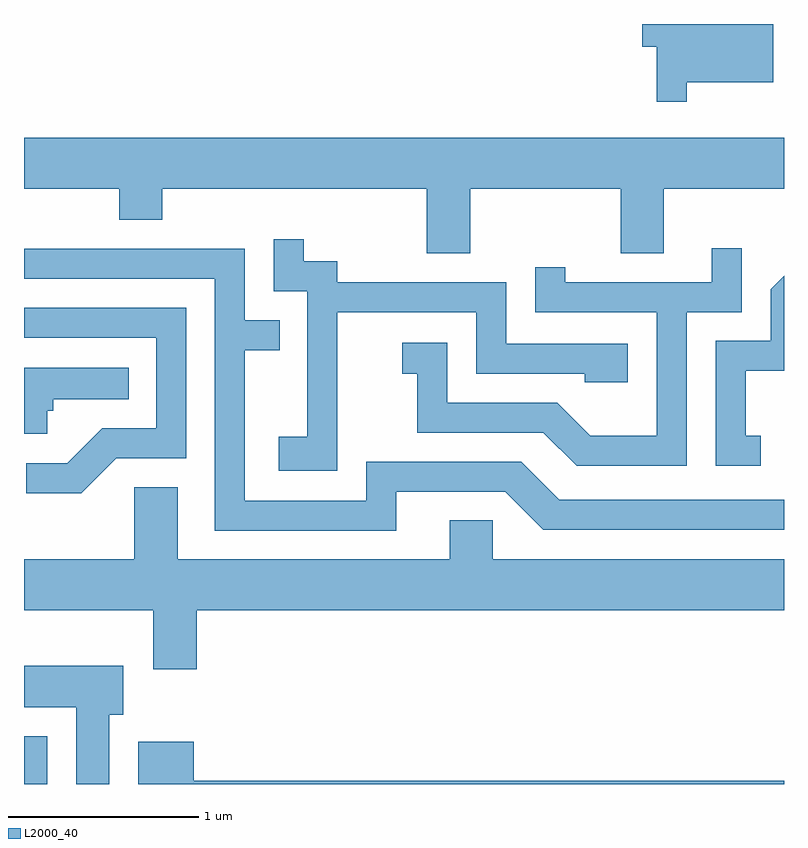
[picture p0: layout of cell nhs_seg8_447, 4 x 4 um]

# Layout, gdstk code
import gdstk
lib = gdstk.Library(unit=1e-6, precision=1e-09)
def R(c, l, rs):  # rectangles x0, y0, x1, y1
    for r in rs: c.add(gdstk.rectangle(r[:2], r[2:], *l))
def P(c, l, *ps):  # polygons
    for p in ps: c.add(gdstk.Polygon(p, *l))
L2000_40 = (2000, 40)

nhs_seg8_447 = lib.new_cell('nhs_seg8_447')
R(nhs_seg8_447, L2000_40, [(197.611,1884.342,197.734,1884.594)])
P(nhs_seg8_447, L2000_40, [(201.099,1888.036),(201.554,1888.036),(201.554,1888.342),(200.866,1888.342),(200.866,1888.221),(200.941,1888.221),(200.941,1887.933),(201.099,1887.933)],
  [(199.959,1887.476),(200.751,1887.476),(200.751,1887.136),(200.979,1887.136),(200.979,1887.476),(201.611,1887.476),(201.611,1887.744),(197.611,1887.744),(197.611,1887.476),(198.111,1887.476),(198.111,1887.311),(198.339,1887.311),(198.339,1887.476),(199.731,1887.476),(199.731,1887.136),(199.959,1887.136)],
  [(199.259,1886.826),(199.991,1886.826),(199.991,1886.501),(200.561,1886.501),(200.561,1886.456),(200.789,1886.456),(200.789,1886.659),(200.149,1886.659),(200.149,1886.984),(199.259,1886.984),(199.259,1887.094),(199.084,1887.094),(199.084,1887.208),(198.926,1887.208),(198.926,1886.936),(199.101,1886.936),(199.101,1886.169),(198.951,1886.169),(198.951,1885.991),(199.259,1885.991)],
  [(201.099,1886.826),(201.389,1886.826),(201.389,1887.163),(201.231,1887.163),(201.231,1886.984),(200.459,1886.984),(200.459,1887.063),(200.301,1887.063),(200.301,1886.826),(200.941,1886.826),(200.941,1886.174),(200.592,1886.174),(200.417,1886.349),(199.839,1886.349),(199.839,1886.664),(199.603,1886.664),(199.603,1886.501),(199.681,1886.501),(199.681,1886.191),(200.344,1886.191),(200.519,1886.016),(201.099,1886.016)],
  [(199.569,1885.881),(200.144,1885.881),(200.344,1885.681),(201.611,1885.681),(201.611,1885.839),(200.427,1885.839),(200.227,1886.039),(199.411,1886.039),(199.411,1885.834),(198.774,1885.834),(198.774,1886.626),(198.958,1886.626),(198.958,1886.784),(198.774,1886.784),(198.774,1887.159),(197.611,1887.159),(197.611,1887.001),(198.616,1887.001),(198.616,1885.676),(199.569,1885.676)],
  [(201.488,1886.174),(201.409,1886.174),(201.409,1886.516),(201.611,1886.516),(201.611,1887.017),(201.541,1886.947),(201.541,1886.674),(201.251,1886.674),(201.251,1886.016),(201.488,1886.016)],
  [(198.097,1886.056),(198.464,1886.056),(198.464,1886.849),(197.611,1886.849),(197.611,1886.691),(198.306,1886.691),(198.306,1886.214),(198.024,1886.214),(197.839,1886.029),(197.623,1886.029),(197.623,1885.871),(197.912,1885.871)],
  [(197.734,1886.306),(197.764,1886.306),(197.764,1886.366),(198.163,1886.366),(198.163,1886.534),(197.611,1886.534),(197.611,1886.186),(197.734,1886.186)],
  [(198.519,1885.256),(201.611,1885.256),(201.611,1885.524),(200.079,1885.524),(200.079,1885.729),(199.851,1885.729),(199.851,1885.524),(198.419,1885.524),(198.419,1885.904),(198.191,1885.904),(198.191,1885.524),(197.611,1885.524),(197.611,1885.256),(198.291,1885.256),(198.291,1884.946),(198.519,1884.946)],
  [(198.059,1884.706),(198.134,1884.706),(198.134,1884.964),(197.611,1884.964),(197.611,1884.746),(197.886,1884.746),(197.886,1884.342),(198.059,1884.342)],
  [(201.611,1884.359),(198.504,1884.359),(198.504,1884.564),(198.211,1884.564),(198.211,1884.342),(201.611,1884.342)])

lib.write_gds('nhs_seg8_447.gds')
